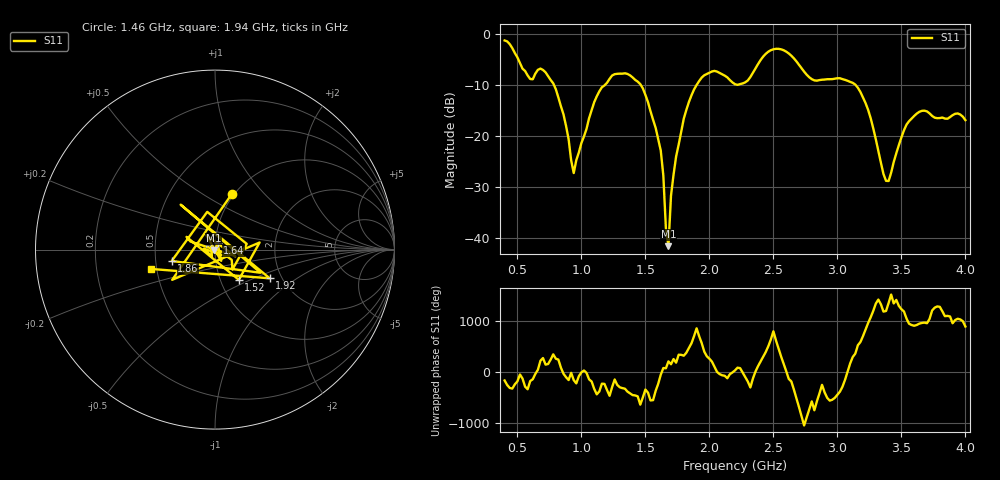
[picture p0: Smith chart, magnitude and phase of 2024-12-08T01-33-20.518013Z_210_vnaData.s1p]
!Created with skrf (http://scikit-rf.org).
# Hz S RI R 50.0
!freq ReS11 ImS11
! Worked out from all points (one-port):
!   181 points, 400 MHz to 4 GHz, reference 50 ohm
!   lowest |S11| = -41.7 dB at 1.68 GHz (marker M1), VSWR 1.02, Z = 49.2 - j0.277 ohm
!   |S11| at or under -10 dB: 785.1 MHz to 1.185 GHz (399.6 MHz wide, 40.6 % of centre); 1.463 GHz to 1.901 GHz (437.3 MHz wide, 26 % of centre); 3.142 GHz to end of sweep (the widest 3 of 4)
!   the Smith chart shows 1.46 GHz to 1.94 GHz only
!   S11 on the Smith chart (normalised r, x): 1.46 GHz: 0.98, +0.67; 1.52 GHz: 1.22, -0.43; 1.64 GHz: 1.03, +0.08; 1.86 GHz: 0.61, -0.08; 1.92 GHz: 1.73, -0.63; 1.94 GHz: 0.46, -0.12
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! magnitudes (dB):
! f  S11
! 400 MHz  -1.3
! 600 MHz  -8.9
! 720 MHz  -7.5
! 860 MHz  -15.8
! 940 MHz  -27.3
! 1.12 GHz  -12.3
! 1.3 GHz  -7.8
! 1.46 GHz  -9.9
! 1.52 GHz  -13.4
! 1.62 GHz  -22.9
! 1.64 GHz  -27.8
! 1.66 GHz  -38.1
! 1.68 GHz  -41.7
! 1.7 GHz  -31.8
! 1.76 GHz  -21.7
! 1.86 GHz  -12.1
! 1.92 GHz  -9.3
! 1.94 GHz  -8.6
! 2.2 GHz  -9.9
! 2.48 GHz  -3.2
! 2.66 GHz  -4.8
! 2.82 GHz  -9.1
! 3.1 GHz  -9.4
! 3.24 GHz  -14.9
! 3.38 GHz  -28.8
! 3.56 GHz  -17.1
! 3.68 GHz  -15.1
! 4 GHz  -16.9
